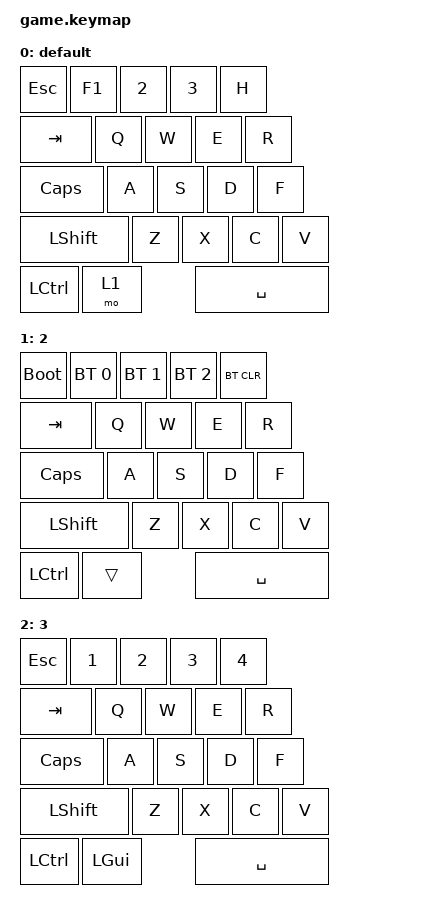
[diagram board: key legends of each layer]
/*
 * Copyright (c) 2020 The ZMK Contributors
 *
 * SPDX-License-Identifier: MIT
 */

#include <behaviors.dtsi>
#include <dt-bindings/zmk/keys.h>
#include <dt-bindings/zmk/bt.h>
#include <dt-bindings/zmk/outputs.h>

/ {
    keymap {
        compatible = "zmk,keymap";

        default {

           bindings = <
            &kp ESC    &kp F1     &kp N2       &kp N3       &kp H
            &kp TAB    &kp Q     &kp W       &kp E       &kp R      
            &kp CAPS   &kp A     &kp S       &kp D       &kp F      
            &kp LSHFT  &kp Z     &kp X       &kp C       &kp V      
            &kp LCTRL  &mo 1                          &kp SPACE  
            >;
        };
2 {

           bindings = <
        &bootloader    &bt BT_SEL 0    &bt BT_SEL 1      &bt BT_SEL 2       &bt BT_CLR
            &kp TAB    &kp Q     &kp W       &kp E       &kp R      
            &kp CAPS   &kp A     &kp S       &kp D       &kp F      
            &kp LSHFT  &kp Z     &kp X       &kp C       &kp V      
            &kp LCTRL  &trans                          &kp SPACE  
            >;
        };
3 {

           bindings = <
            &kp ESC    &kp N1     &kp N2       &kp N3       &kp N4
            &kp TAB    &kp Q     &kp W       &kp E       &kp R      
            &kp CAPS   &kp A     &kp S       &kp D       &kp F      
            &kp LSHFT  &kp Z     &kp X       &kp C       &kp V      
            &kp LCTRL  &kp LGUI                          &kp SPACE  
            >;
        };

    };
};

